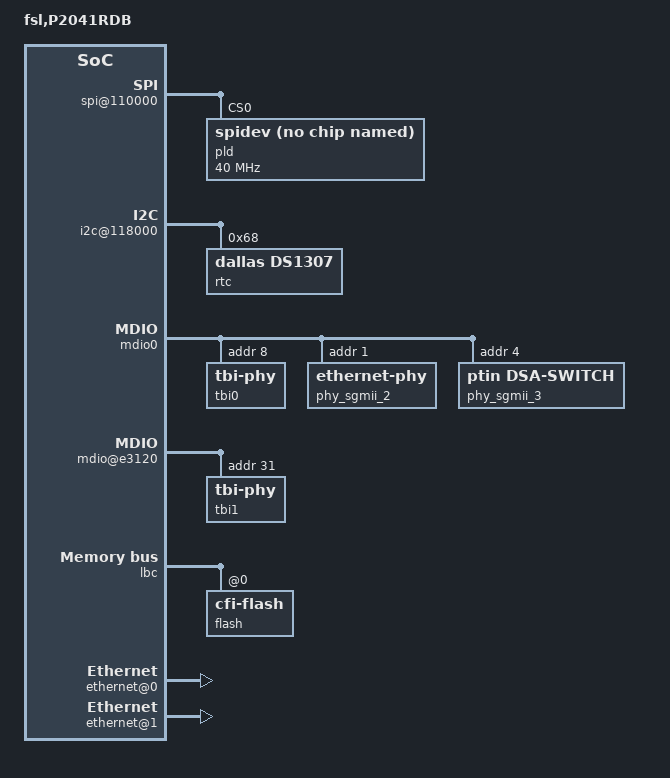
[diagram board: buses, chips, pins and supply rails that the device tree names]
/*
 * P2041RDB Device Tree Source
 *
 * Copyright 2011-2012 Freescale Semiconductor Inc.
 *
 * Redistribution and use in source and binary forms, with or without
 * modification, are permitted provided that the following conditions are met:
 *     * Redistributions of source code must retain the above copyright
 *       notice, this list of conditions and the following disclaimer.
 *     * Redistributions in binary form must reproduce the above copyright
 *       notice, this list of conditions and the following disclaimer in the
 *       documentation and/or other materials provided with the distribution.
 *     * Neither the name of Freescale Semiconductor nor the
 *       names of its contributors may be used to endorse or promote products
 *       derived from this software without specific prior written permission.
 *
 *
 * ALTERNATIVELY, this software may be distributed under the terms of the
 * GNU General Public License ("GPL") as published by the Free Software
 * Foundation, either version 2 of that License or (at your option) any
 * later version.
 *
 * THIS SOFTWARE IS PROVIDED BY Freescale Semiconductor ``AS IS'' AND ANY
 * EXPRESS OR IMPLIED WARRANTIES, INCLUDING, BUT NOT LIMITED TO, THE IMPLIED
 * WARRANTIES OF MERCHANTABILITY AND FITNESS FOR A PARTICULAR PURPOSE ARE
 * DISCLAIMED. IN NO EVENT SHALL Freescale Semiconductor BE LIABLE FOR ANY
 * DIRECT, INDIRECT, INCIDENTAL, SPECIAL, EXEMPLARY, OR CONSEQUENTIAL DAMAGES
 * (INCLUDING, BUT NOT LIMITED TO, PROCUREMENT OF SUBSTITUTE GOODS OR SERVICES;
 * LOSS OF USE, DATA, OR PROFITS; OR BUSINESS INTERRUPTION) HOWEVER CAUSED AND
 * ON ANY THEORY OF LIABILITY, WHETHER IN CONTRACT, STRICT LIABILITY, OR TORT
 * (INCLUDING NEGLIGENCE OR OTHERWISE) ARISING IN ANY WAY OUT OF THE USE OF THIS
 * SOFTWARE, EVEN IF ADVISED OF THE POSSIBILITY OF SUCH DAMAGE.
 */

/include/ "fsl/p2041si-pre.dtsi"

/ {
	model = "fsl,P2041RDB";
	compatible = "fsl,P2041RDB";
	#address-cells = <2>;
	#size-cells = <2>;
	interrupt-parent = <&mpic>;

	aliases {
		ethernet0 = &enet0;
		ethernet1 = &enet1;
		phy_sgmii_2 = &phy_sgmii_2;
		phy_sgmii_3 = &phy_sgmii_3;
	};

	memory {
		device_type = "memory";
	};

	dcsr: dcsr@f00000000 {
		ranges = <0x00000000 0xf 0x00000000 0x01008000>;
	};

	bportals: bman-portals@ff4000000 {
		ranges = <0x0 0xf 0xf4000000 0x200000>;
	};

	qportals: qman-portals@ff4200000 {
		ranges = <0x0 0xf 0xf4200000 0x200000>;
	};

	soc: soc@ffe000000 {
		ranges = <0x00000000 0xf 0xfe000000 0x1000000>;
		reg = <0xf 0xfe000000 0 0x00001000>;
		spi@110000 {
			pld@0 {
				#address-cells = <1>;
				#size-cells = <1>;												
				compatible = "spidev";
				chip_select = <3>;
				reg = <0>;
				spi-max-frequency = <40000000>; /* input clock */
			};
		};

		i2c@118000 {

		rtc@68 {
			/* Actually a DS1339 */
				compatible = "dallas,ds1307";
				reg = <0x68>;
			};
			
		};

		i2c@118100 {
			
		};

		usb1: usb@211000 {
			dr_mode = "host";
		};

		fman0: fman@400000 {
			enet0: ethernet@e0000 {
				tbi-handle = <&tbi0>;
				phy-handle = <&phy_sgmii_2>;
				phy-connection-type = "sgmii";
				#address-cells = <1>;
			};

			mdio0: mdio@e1120 {
				tbi0: tbi-phy@8 {
					reg = <0x8>;
					device_type = "tbi-phy";
				};
							
				phy_sgmii_2: ethernet-phy@1 {				
					reg = <0x1>;
				};
				phy_sgmii_3: ethernet-phy@4 {
				compatible = "ptin,dsa-switch";
					reg = <0x4>;
				};
			
			};

			enet1: ethernet@e2000 {
				tbi-handle = <&tbi1>;
				phy-connection-type = "sgmii";
				fixed-link = <4 1 1000 0 0> ;
			};

			mdio@e3120 {
				tbi1: tbi-phy@31 {
					reg = <31>;
					device_type = "tbi-phy";
				};
			};
		};
	};



	lbc: localbus@ffe124000 {
		reg = <0xf 0xfe124000 0 0x1000>;
		ranges = <0 0 0xf 0xe8000000 0x08000000
			  1 0 0xf 0xffa00000 0x00040000>;

		flash@0,0 {
			compatible = "cfi-flash";
			reg = <0 0 0x08000000>;
			bank-width = <2>;
			device-width = <2>;
		};
	};

	pci1: pcie@ffe201000 {
		reg = <0xf 0xfe201000 0 0x1000>;
		ranges = <0x02000000 0x0 0xa0000000 0x0 0xa0000000 0x0 0x8000000
			  0x01000000 0x0 0x00000000 0x0 0xf8010000 0x0 0x00010000>;
		pcie@0 {
			ranges = <0x02000000 0 0xa0000000
				  0x02000000 0 0xa0000000
				  0 0x8000000

				  0x01000000 0 0x00000000
				  0x01000000 0 0x00000000
				  0 0x00010000>;
		};
	};

	fsl,dpaa {
		compatible = "fsl,p2041-dpaa", "fsl,dpaa";

		ethernet@0 {
			compatible = "fsl,p2041-dpa-ethernet", "fsl,dpa-ethernet";
			fsl,fman-mac = <&enet1>;
		};
		ethernet@1 {
			compatible = "fsl,p2041-dpa-ethernet", "fsl,dpa-ethernet";
			fsl,fman-mac = <&enet0>;
		};		
	};
};

/include/ "fsl/p2041si-post.dtsi"

/include/ "fsl/qoriq-dpaa-res1.dtsi"
